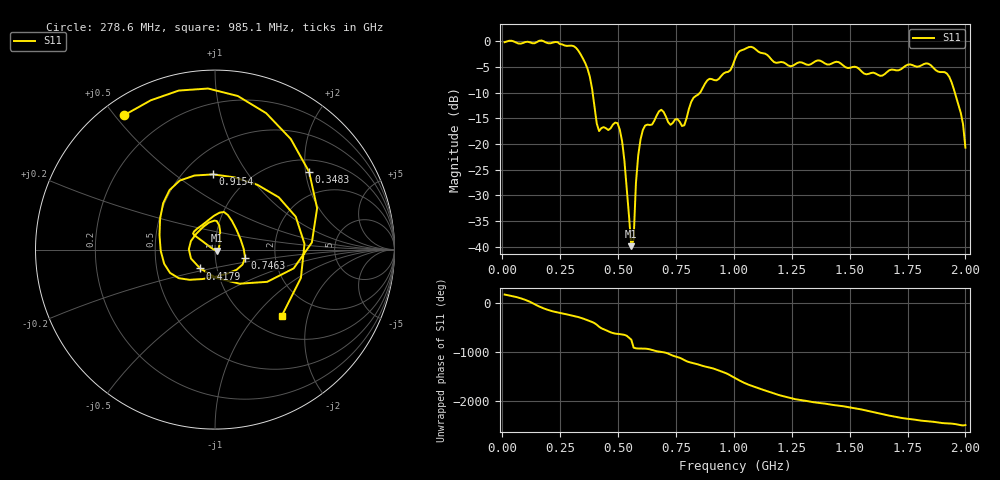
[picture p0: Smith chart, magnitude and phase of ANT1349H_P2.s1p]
!Created with skrf (http://scikit-rf.org).
# Hz S RI R 50.0
!freq ReS11 ImS11
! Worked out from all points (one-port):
!   201 points, 10 MHz to 2 GHz, reference 50 ohm
!   lowest |S11| = -39.9 dB at 557.2 MHz (marker M1), VSWR 1.02, Z = 50.8 - j0.566 ohm
!   |S11| at or under -10 dB: 390.2 MHz to 853.9 MHz (463.8 MHz wide, 74.6 % of centre); 1.954 GHz to end of sweep
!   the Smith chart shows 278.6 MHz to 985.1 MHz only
!   S11 on the Smith chart (normalised r, x): 278.6 MHz: 0.06, +0.53; 348.3 MHz: 1.30, +2.09; 417.9 MHz: 0.83, -0.18; 746.3 MHz: 1.40, -0.13; 915.5 MHz: 0.69, +0.70; 985.1 MHz: 1.37, -1.39
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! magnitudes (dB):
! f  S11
! 10 MHz  -0.2
! 258.8 MHz  -0.6
! 278.6 MHz  -0.9
! 348.3 MHz  -3.3
! 378.1 MHz  -6.9
! 417.9 MHz  -17.5
! 507.5 MHz  -17.2
! 527.4 MHz  -23.3
! 557.2 MHz  -39.9
! 567.2 MHz  -38.6
! 577.1 MHz  -27.6
! 587.1 MHz  -22.2
! 607 MHz  -17.3
! 686.6 MHz  -13.3
! 746.3 MHz  -15.2
! 756.2 MHz  -15.2
! 786.1 MHz  -16.3
! 825.9 MHz  -11.0
! 915.5 MHz  -7.6
! 985.1 MHz  -5.6
! 1.005 GHz  -3.4
! 1.075 GHz  -1.1
! 1.254 GHz  -4.8
! 1.502 GHz  -5.1
! 1.751 GHz  -4.5
! 1.93 GHz  -6.9
! 1.98 GHz  -13.9
! 2 GHz  -20.7
